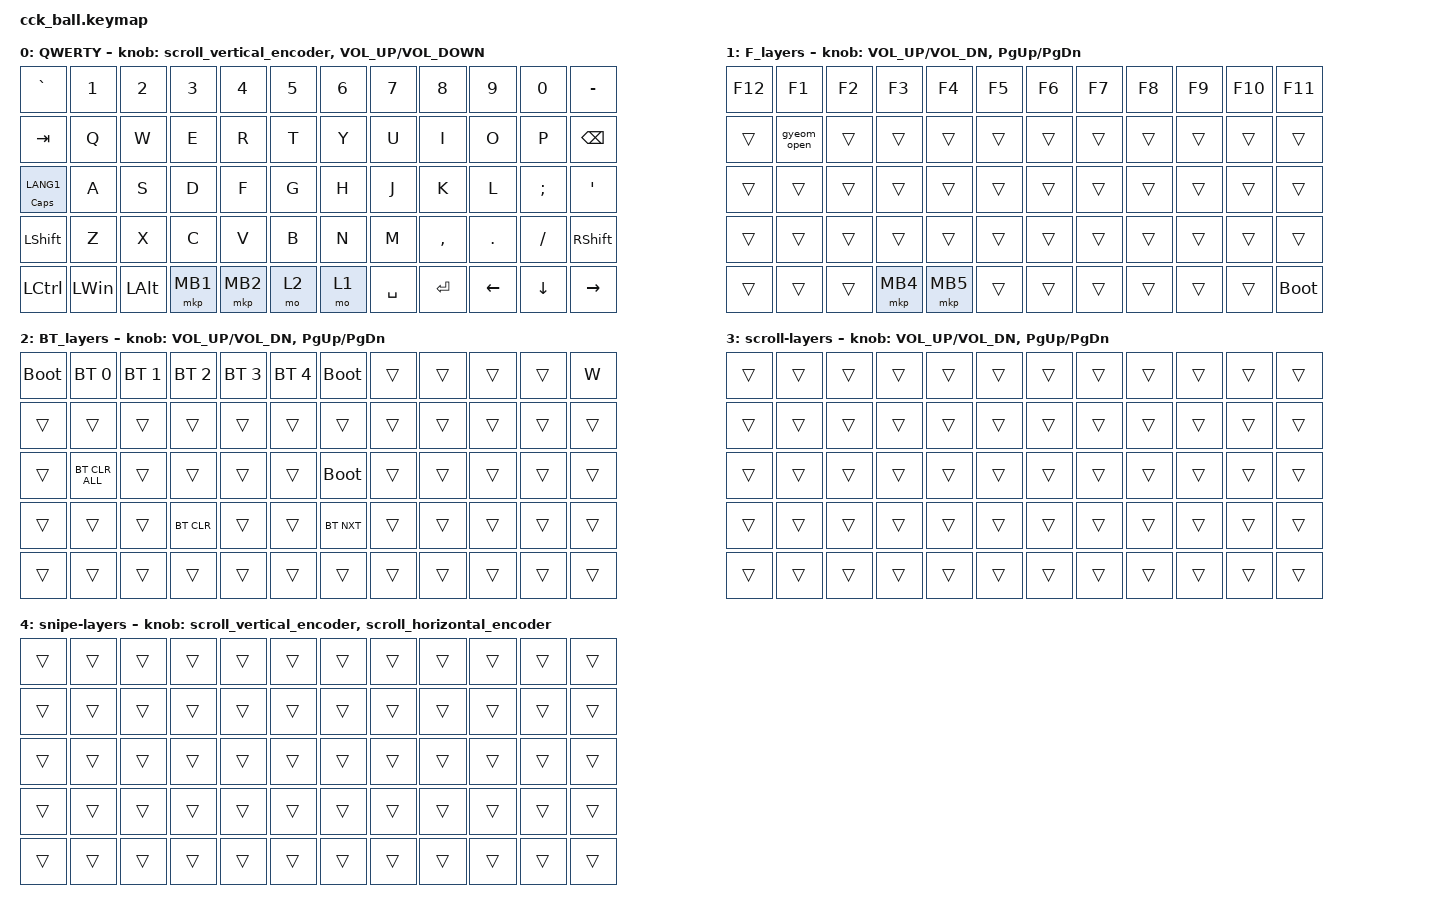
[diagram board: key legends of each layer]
#define ZMK_POINTING_DEFAULT_MOVE_VAL 1000 // 600
#define ZMK_POINTING_DEFAULT_SCRL_VAL 12   // 10

#include <input/processors.dtsi>
#include <zephyr/dt-bindings/input/input-event-codes.h>
#include <behaviors.dtsi>
#include <dt-bindings/zmk/bt.h>
#include <dt-bindings/zmk/keys.h>
#include <dt-bindings/zmk/pointing.h>

&mmv_input_listener { input-processors = <&zip_xy_scaler 2 1>; };

&msc_input_listener { input-processors = <&zip_scroll_scaler 2 1>; };

&msc {
    acceleration-exponent = <0>;      // 0
    time-to-max-speed-ms = <300>;       // 300
    delay-ms = <0>;                   // 0
};

&mmv {
    time-to-max-speed-ms = <500>;
    acceleration-exponent = <1>;
    trigger-period-ms = <16>;
};

&soft_off { hold-time-ms = <2000>; };

/ {
    // 上下滚动编码器行为

    scroll_vertical_encoder: scroll_vertical_encoder {
        compatible = "zmk,behavior-sensor-rotate";
        #sensor-binding-cells = <0>;
        bindings = <&msc SCRL_UP>, <&msc SCRL_DOWN>;

        tap-ms = <100>;
    };

    // 左右滚动编码器行为

    scroll_horizontal_encoder: scroll_horizontal_encoder {
        compatible = "zmk,behavior-sensor-rotate";
        #sensor-binding-cells = <0>;
        bindings = <&msc SCRL_LEFT>, <&msc SCRL_RIGHT>;

        tap-ms = <100>;
    };

    behaviors {
        click_or_key: click_or_key {
            compatible = "zmk,behavior-hold-tap";
            #binding-cells = <2>;
            tapping-term-ms = <300>;
            flavor = "tap-preferred";
            bindings = <&mkp>, <&kp>;

            require-prior-idle-ms = <150>;
        };

        td0: tap_dance_0 {
            compatible = "zmk,behavior-tap-dance";
            #binding-cells = <0>;
            tapping-term-ms = <200>;
            bindings = <&kp N1>, <&kp N2>, <&kp N3>;
        };
    };

    macros {
        gyeom_open: gyeom_open {
            compatible = "zmk,behavior-macro";
            #binding-cells = <0>;
            bindings = <&kp SEMI &kp SEMI &kp G &kp L &kp ENTER &kp LEFT>;
            label = "GYEOM_OPEN";
        };
    };

    keymap {
        compatible = "zmk,keymap";

        QWERTY {
            bindings = <
&kp GRAVE           &kp N1        &kp N2        &kp N3    &kp N4    &kp N5  &kp N6  &kp N7     &kp N8     &kp N9          &kp N0          &kp MINUS
&kp TAB             &kp Q         &kp W         &kp E     &kp R     &kp T   &kp Y   &kp U      &kp I      &kp O           &kp P           &kp BACKSPACE
&mt CAPSLOCK LANG1  &kp A         &kp S         &kp D     &kp F     &kp G   &kp H   &kp J      &kp K      &kp L           &kp SEMI        &kp SINGLE_QUOTE
&kp LEFT_SHIFT      &kp Z         &kp X         &kp C     &kp V     &kp B   &kp N   &kp M      &kp COMMA  &kp DOT         &kp SLASH       &kp RSHIFT
&kp LCTRL           &kp LEFT_WIN  &kp LEFT_ALT  &mkp MB1  &mkp MB2  &mo 2   &mo 1   &kp SPACE  &kp ENTER  &kp LEFT_ARROW  &kp DOWN_ARROW  &kp RIGHT_ARROW
            >;

            sensor-bindings =
                <&scroll_vertical_encoder>,
                <&inc_dec_kp C_VOLUME_UP C_VOLUME_DOWN>;
        };

        F_layers {
            bindings = <
&kp F12  &kp F1       &kp F2  &kp F3    &kp F4    &kp F5  &kp F6  &kp F7  &kp F8  &kp F9  &kp F10  &kp F11
&trans   &gyeom_open  &trans  &trans    &trans    &trans  &trans  &trans  &trans  &trans  &trans   &trans
&trans   &trans       &trans  &trans    &trans    &trans  &trans  &trans  &trans  &trans  &trans   &trans
&trans   &trans       &trans  &trans    &trans    &trans  &trans  &trans  &trans  &trans  &trans   &trans
&trans   &trans       &trans  &mkp MB4  &mkp MB5  &trans  &trans  &trans  &trans  &trans  &trans   &bootloader
            >;

            sensor-bindings = <&inc_dec_kp C_VOL_UP C_VOL_DN &inc_dec_kp PG_UP PG_DN>;
        };

        BT_layers {
            bindings = <
&bootloader  &bt BT_SEL 0    &bt BT_SEL 1  &bt BT_SEL 2  &bt BT_SEL 3  &bt BT_SEL 4  &bootloader  &trans  &trans  &trans  &trans  &kp W
&trans       &trans          &trans        &trans        &trans        &trans        &trans       &trans  &trans  &trans  &trans  &trans
&trans       &bt BT_CLR_ALL  &trans        &trans        &trans        &trans        &bootloader  &trans  &trans  &trans  &trans  &trans
&trans       &trans          &trans        &bt BT_CLR    &trans        &trans        &bt BT_NXT   &trans  &trans  &trans  &trans  &trans
&trans       &trans          &trans        &trans        &trans        &trans        &trans       &trans  &trans  &trans  &trans  &trans
            >;

            sensor-bindings = <&inc_dec_kp C_VOL_UP C_VOL_DN &inc_dec_kp PG_UP PG_DN>;
        };

        scroll-layers {
            bindings = <
&trans  &trans  &trans  &trans  &trans  &trans  &trans  &trans  &trans  &trans  &trans  &trans
&trans  &trans  &trans  &trans  &trans  &trans  &trans  &trans  &trans  &trans  &trans  &trans
&trans  &trans  &trans  &trans  &trans  &trans  &trans  &trans  &trans  &trans  &trans  &trans
&trans  &trans  &trans  &trans  &trans  &trans  &trans  &trans  &trans  &trans  &trans  &trans
&trans  &trans  &trans  &trans  &trans  &trans  &trans  &trans  &trans  &trans  &trans  &trans
            >;

            sensor-bindings = <&inc_dec_kp C_VOL_UP C_VOL_DN &inc_dec_kp PG_UP PG_DN>;
        };

        snipe-layers {
            bindings = <
&trans  &trans  &trans  &trans  &trans  &trans  &trans  &trans  &trans  &trans  &trans  &trans
&trans  &trans  &trans  &trans  &trans  &trans  &trans  &trans  &trans  &trans  &trans  &trans
&trans  &trans  &trans  &trans  &trans  &trans  &trans  &trans  &trans  &trans  &trans  &trans
&trans  &trans  &trans  &trans  &trans  &trans  &trans  &trans  &trans  &trans  &trans  &trans
&trans  &trans  &trans  &trans  &trans  &trans  &trans  &trans  &trans  &trans  &trans  &trans
            >;

            sensor-bindings =
                <&scroll_vertical_encoder>,
                // 编码器1：上下滚动,,,,,,,,,,,,,,,,,,,,,,,,,,,,,,,,,,,,,,,,,,,,
                <&scroll_horizontal_encoder>;

            // 编码器2：左右滚动
        };
    };
};
